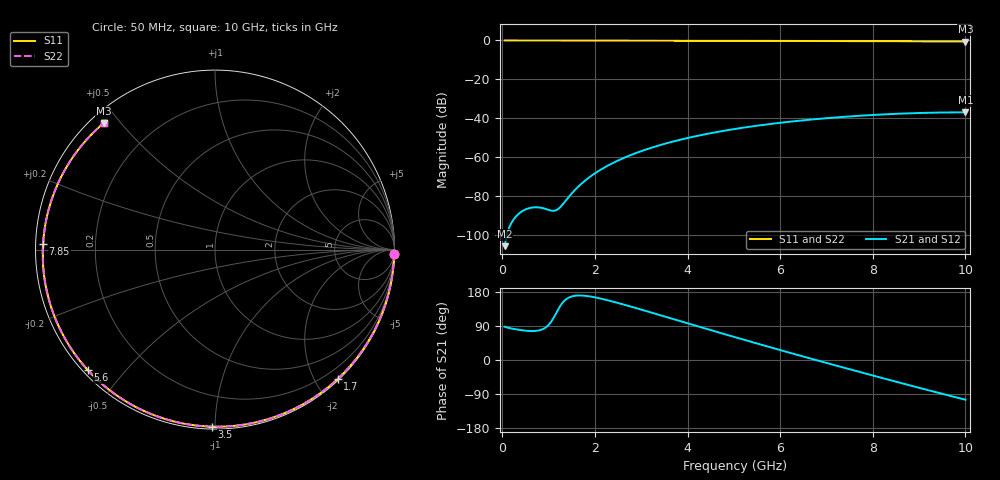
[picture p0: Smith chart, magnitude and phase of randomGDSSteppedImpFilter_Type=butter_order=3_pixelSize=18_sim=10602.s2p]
! freq	dB(S11)	phase(S11)	dB(S12)	phase(S12)
!  dB(S21)	phase(S21)	dB(S22)	phase(S22)
!S-par simulation data
#  GHz  S  DB  R 50
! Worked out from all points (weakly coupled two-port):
!   200 points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, 50 MHz to 10 GHz, reference 50 ohm
!   highest |S21| = -36.89 dB at 10 GHz (marker M1); lowest = -105.6 dB at 50 MHz (marker M2)
!   lowest |S11| = -0.5 dB at 10 GHz (marker M3), VSWR 31.71, Z = 1.9 + j22.6 ohm
!   |S11| at or under -10 dB: nowhere
!   |S22| runs from -0.5 to 0.0 dB; largest |S21 - S12| = 0
!   S11 on the Smith chart (normalised r, x): 50 MHz: 3, -85; 1.7 GHz: 0.02, -2.33; 3.5 GHz: 0.01, -0.98; 5.6 GHz: 0.01, -0.40; 7.85 GHz: 0.02, +0.02; 10 GHz: 0.04, +0.45
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0.05  -0.01 -1.3  -105.56 87.7  -105.56 87.7  -0.01 -1.3
0.4  -0.02 -11.2  -88.11 78.9  -88.11 78.9  -0.02 -11.2
0.7  -0.03 -19.5  -85.62 76.6  -85.62 76.6  -0.03 -19.5
1.05  -0.04 -29.1  -87.29 100.0  -87.29 100.0  -0.04 -29.1
1.45  -0.05 -39.8  -79.87 165.5  -79.87 165.5  -0.05 -39.8
1.7  -0.06 -46.5  -73.70 170.2  -73.70 170.2  -0.06 -46.5
1.75  -0.06 -47.8  -72.66 169.9  -72.66 169.9  -0.06 -47.8
2.05  -0.07 -55.6  -67.42 164.1  -67.42 164.1  -0.07 -55.6
2.45  -0.08 -65.7  -62.17 152.1  -62.17 152.1  -0.08 -65.7
2.9  -0.10 -76.8  -57.66 136.6  -57.66 136.6  -0.10 -76.8
3.4  -0.11 -88.6  -53.75 118.6  -53.75 118.6  -0.11 -88.6
3.5  -0.12 -91.0  -53.07 115.0  -53.07 115.0  -0.12 -91.0
4.25  -0.14 -107.9  -48.77 87.9  -48.77 87.9  -0.14 -107.9
5.05  -0.18 -125.0  -45.32 59.3  -45.32 59.3  -0.18 -125.0
5.6  -0.21 -136.5  -43.43 40.1  -43.43 40.1  -0.21 -136.4
6.15  -0.24 -147.7  -41.85 21.1  -41.85 21.1  -0.24 -147.6
6.7  -0.28 -158.7  -40.53 2.4  -40.53 2.4  -0.28 -158.7
7.3  -0.32 -170.8  -39.34 -17.8  -39.34 -17.8  -0.32 -170.8
7.85  -0.37 178.0  -38.45 -36.0  -38.45 -36.0  -0.37 178.0
8.35  -0.41 167.7  -37.82 -52.4  -37.82 -52.4  -0.41 167.7
9.15  -0.48 150.6  -37.14 -78.2  -37.14 -78.2  -0.48 150.6
10  -0.55 131.4  -36.89 -104.7  -36.89 -104.7  -0.55 131.4
